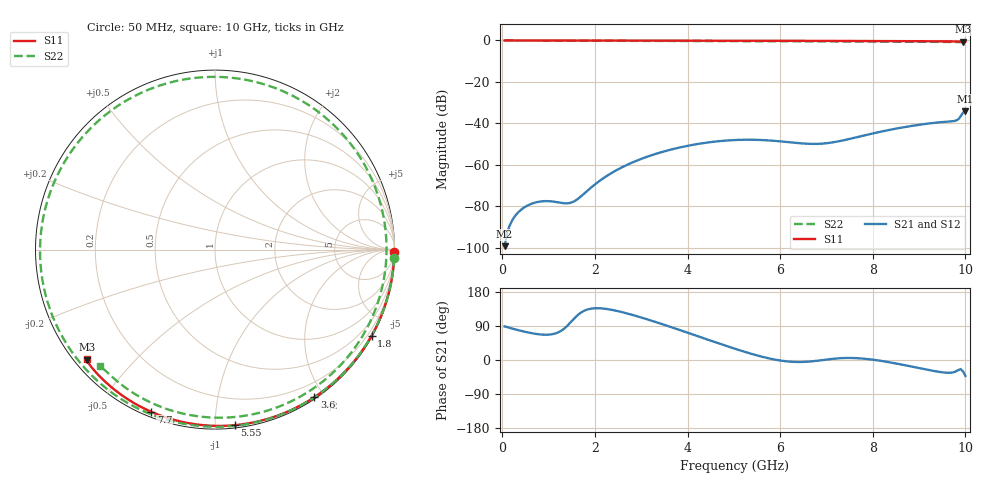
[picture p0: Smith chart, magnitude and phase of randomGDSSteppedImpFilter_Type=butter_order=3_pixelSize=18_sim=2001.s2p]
! freq	dB(S11)	phase(S11)	dB(S12)	phase(S12)
!  dB(S21)	phase(S21)	dB(S22)	phase(S22)
!S-par simulation data
#  GHz  S  DB  R 50
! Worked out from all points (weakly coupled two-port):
!   200 points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, 50 MHz to 10 GHz, reference 50 ohm
!   highest |S21| = -34.18 dB at 10 GHz (marker M1); lowest = -99.3 dB at 50 MHz (marker M2)
!   lowest |S11| = -0.6 dB at 9.95 GHz (marker M3), VSWR 31.54, Z = 1.8 - j18.5 ohm
!   |S11| at or under -10 dB: nowhere
!   |S22| runs from -0.8 to 0.0 dB; largest |S21 - S12| = 0
!   S11 on the Smith chart (normalised r, x): 50 MHz: open; 1.8 GHz: 0.03, -3.90; 3.6 GHz: 0.02, -1.88; 5.55 GHz: 0.02, -1.12; 7.7 GHz: 0.02, -0.68; 10 GHz: 0.04, -0.37
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0.05  -0.00 -0.8  -99.27 88.8  -99.27 88.8  -0.00 -2.6
0.5  -0.01 -8.1  -80.21 74.1  -80.21 74.1  -0.03 -25.8
1  -0.02 -16.1  -77.54 66.9  -77.54 66.9  -0.07 -51.3
1.45  -0.03 -23.2  -78.47 96.1  -78.47 96.1  -0.09 -73.8
1.75  -0.04 -28.0  -74.25 128.8  -74.25 128.8  -0.11 -88.6
1.8  -0.04 -28.7  -73.26 131.6  -73.26 131.6  -0.11 -91.0
2.55  -0.05 -40.3  -61.60 127.4  -61.60 127.4  -0.15 -127.7
3.4  -0.07 -53.1  -54.14 96.8  -54.14 96.8  -0.21 -170.1
3.6  -0.08 -56.1  -52.90 88.7  -52.90 88.7  -0.22 179.6
4.3  -0.09 -66.2  -49.67 59.5  -49.67 59.5  -0.27 141.4
4.7  -0.11 -71.9  -48.55 42.8  -48.55 42.8  -0.30 118.2
5.05  -0.12 -76.8  -48.02 28.6  -48.02 28.6  -0.32 97.1
5.55  -0.14 -83.6  -48.00 10.5  -48.00 10.5  -0.35 66.3
6.15  -0.16 -91.6  -49.01 -3.7  -49.01 -3.7  -0.37 29.7
6.7  -0.19 -98.8  -49.92 -3.4  -49.92 -3.4  -0.39 -1.7
7.15  -0.22 -104.5  -49.13 3.3  -49.13 3.3  -0.42 -25.1
7.7  -0.26 -111.5  -46.45 4.5  -46.45 4.5  -0.46 -50.9
8.35  -0.31 -119.6  -43.20 -5.8  -43.20 -5.8  -0.53 -77.7
9  -0.36 -127.6  -40.70 -21.3  -40.70 -21.3  -0.62 -101.5
9.75  -0.45 -136.9  -38.89 -32.2  -38.89 -32.2  -0.78 -126.8
9.95  -0.55 -139.3  -34.75 -30.3  -34.75 -30.3  -0.81 -133.0
10  -0.55 -139.6  -34.18 -42.2  -34.18 -42.2  -0.80 -134.7
